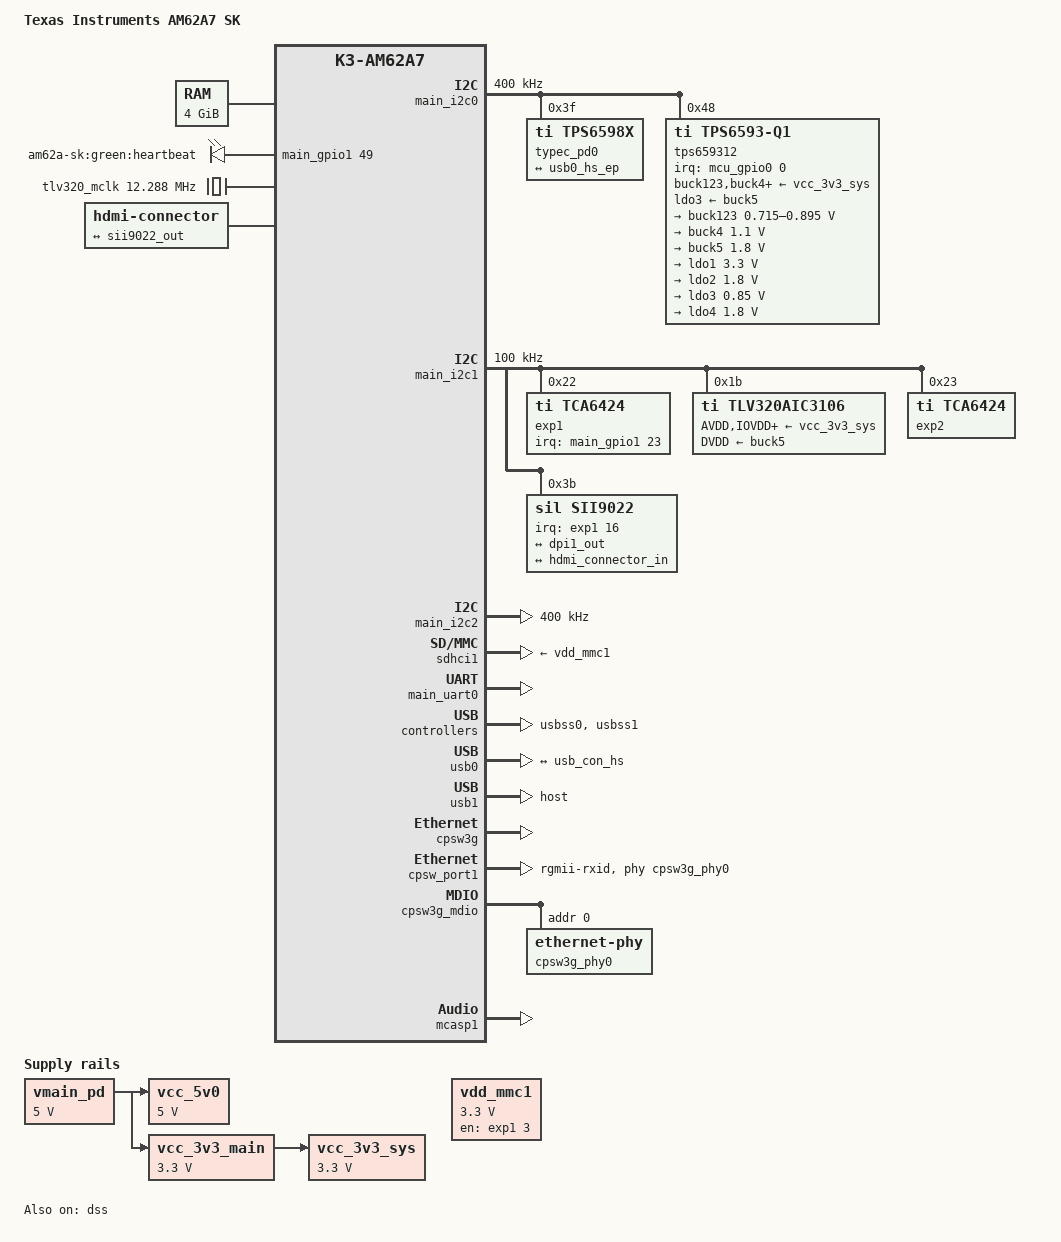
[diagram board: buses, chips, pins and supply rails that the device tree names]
// SPDX-License-Identifier: GPL-2.0
/*
 * AM62A SK: https://www.ti.com/lit/zip/sprr459
 *
 * Copyright (C) 2022 Texas Instruments Incorporated - https://www.ti.com/
 */

/dts-v1/;

#include <dt-bindings/leds/common.h>
#include <dt-bindings/gpio/gpio.h>
#include <dt-bindings/net/ti-dp83867.h>
#include "k3-am62a7.dtsi"

/ {
	compatible = "ti,am62a7-sk", "ti,am62a7";
	model = "Texas Instruments AM62A7 SK";

	aliases {
		serial0 = &wkup_uart0;
		serial2 = &main_uart0;
		serial3 = &main_uart1;
		mmc1 = &sdhci1;
	};

	chosen {
		stdout-path = "serial2:115200n8";
	};

	memory@80000000 {
		device_type = "memory";
		/* 4G RAM */
		reg = <0x00000000 0x80000000 0x00000000 0x80000000>,
		      <0x00000008 0x80000000 0x00000000 0x80000000>;
	};

	reserved-memory {
		#address-cells = <2>;
		#size-cells = <2>;
		ranges;

		secure_tfa_ddr: tfa@9e780000 {
			reg = <0x00 0x9e780000 0x00 0x80000>;
			alignment = <0x1000>;
			no-map;
		};

		secure_ddr: optee@9e800000 {
			reg = <0x00 0x9e800000 0x00 0x01800000>; /* for OP-TEE */
			alignment = <0x1000>;
			no-map;
		};

		wkup_r5fss0_core0_memory_region: r5f-dma-memory@9c900000 {
			compatible = "shared-dma-pool";
			reg = <0x00 0x9c900000 0x00 0x01e00000>;
			no-map;
		};
	};

	vmain_pd: regulator-0 {
		/* TPS25750 PD CONTROLLER OUTPUT */
		compatible = "regulator-fixed";
		regulator-name = "vmain_pd";
		regulator-min-microvolt = <5000000>;
		regulator-max-microvolt = <5000000>;
		regulator-always-on;
		regulator-boot-on;
	};

	vcc_5v0: regulator-1 {
		/* Output of TPS63070 */
		compatible = "regulator-fixed";
		regulator-name = "vcc_5v0";
		regulator-min-microvolt = <5000000>;
		regulator-max-microvolt = <5000000>;
		vin-supply = <&vmain_pd>;
		regulator-always-on;
		regulator-boot-on;
	};

	vcc_3v3_main: regulator-2 {
		/* output of LM5141-Q1 */
		compatible = "regulator-fixed";
		regulator-name = "vcc_3v3_main";
		regulator-min-microvolt = <3300000>;
		regulator-max-microvolt = <3300000>;
		vin-supply = <&vmain_pd>;
		regulator-always-on;
		regulator-boot-on;
	};

	vdd_mmc1: regulator-3 {
		/* TPS22918DBVR */
		compatible = "regulator-fixed";
		regulator-name = "vdd_mmc1";
		regulator-min-microvolt = <3300000>;
		regulator-max-microvolt = <3300000>;
		regulator-boot-on;
		enable-active-high;
		gpio = <&exp1 3 GPIO_ACTIVE_HIGH>;
	};

	vcc_3v3_sys: regulator-4 {
		/* output of TPS222965DSGT */
		compatible = "regulator-fixed";
		regulator-name = "vcc_3v3_sys";
		regulator-min-microvolt = <3300000>;
		regulator-max-microvolt = <3300000>;
		vin-supply = <&vcc_3v3_main>;
		regulator-always-on;
		regulator-boot-on;
	};

	leds {
		compatible = "gpio-leds";
		pinctrl-names = "default";
		pinctrl-0 = <&usr_led_pins_default>;

		led-0 {
			label = "am62a-sk:green:heartbeat";
			gpios = <&main_gpio1 49 GPIO_ACTIVE_HIGH>;
			linux,default-trigger = "heartbeat";
			function = LED_FUNCTION_HEARTBEAT;
			default-state = "off";
		};
	};

	tlv320_mclk: clk-0 {
		#clock-cells = <0>;
		compatible = "fixed-clock";
		clock-frequency = <12288000>;
	};

	hdmi0: connector-hdmi {
		compatible = "hdmi-connector";
		label = "hdmi";
		type = "a";

		port {
			hdmi_connector_in: endpoint {
				remote-endpoint = <&sii9022_out>;
			};
		};
	};

	codec_audio: sound {
		compatible = "simple-audio-card";
		simple-audio-card,name = "AM62Ax-SKEVM";
		simple-audio-card,widgets =
			"Headphone",	"Headphone Jack",
			"Line",		"Line In",
			"Microphone",	"Microphone Jack";
		simple-audio-card,routing =
			"Headphone Jack",	"HPLOUT",
			"Headphone Jack",	"HPROUT",
			"LINE1L",		"Line In",
			"LINE1R",		"Line In",
			"MIC3R",		"Microphone Jack",
			"Microphone Jack",	"Mic Bias";
		simple-audio-card,format = "dsp_b";
		simple-audio-card,bitclock-master = <&sound_master>;
		simple-audio-card,frame-master = <&sound_master>;
		simple-audio-card,bitclock-inversion;

		simple-audio-card,cpu {
			sound-dai = <&mcasp1>;
		};

		sound_master: simple-audio-card,codec {
			sound-dai = <&tlv320aic3106>;
			clocks = <&tlv320_mclk>;
		};
	};
};

&mcu_pmx0 {
	wkup_uart0_pins_default: wkup-uart0-default-pins {
		pinctrl-single,pins = <
			AM62AX_MCU_IOPAD(0x0024, PIN_INPUT, 0) /* (C9) WKUP_UART0_RXD */
			AM62AX_MCU_IOPAD(0x0028, PIN_OUTPUT, 0) /* (E9) WKUP_UART0_TXD */
			AM62AX_MCU_IOPAD(0x002c, PIN_INPUT, 0) /* (C10) WKUP_UART0_CTSn */
			AM62AX_MCU_IOPAD(0x0030, PIN_OUTPUT, 0) /* (C8) WKUP_UART0_RTSn */
		>;
	};
};

/* WKUP UART0 is used for DM firmware logs */
&wkup_uart0 {
	pinctrl-names = "default";
	pinctrl-0 = <&wkup_uart0_pins_default>;
	status = "reserved";
};

&main_pmx0 {
	main_dss0_pins_default: main-dss0-default-pins {
		pinctrl-single,pins = <
			AM62AX_IOPAD(0x100, PIN_OUTPUT, 0) /* (V17) VOUT0_VSYNC */
			AM62AX_IOPAD(0x0f8, PIN_OUTPUT, 0) /* (T18) VOUT0_HSYNC */
			AM62AX_IOPAD(0x104, PIN_OUTPUT, 0) /* (AA22) VOUT0_PCLK */
			AM62AX_IOPAD(0x0fc, PIN_OUTPUT, 0) /* (U17) VOUT0_DE */
			AM62AX_IOPAD(0x0b8, PIN_OUTPUT, 0) /* (U22) VOUT0_DATA0 */
			AM62AX_IOPAD(0x0bc, PIN_OUTPUT, 0) /* (U21) VOUT0_DATA1 */
			AM62AX_IOPAD(0x0c0, PIN_OUTPUT, 0) /* (U20) VOUT0_DATA2 */
			AM62AX_IOPAD(0x0c4, PIN_OUTPUT, 0) /* (U19) VOUT0_DATA3 */
			AM62AX_IOPAD(0x0c8, PIN_OUTPUT, 0) /* (T19) VOUT0_DATA4 */
			AM62AX_IOPAD(0x0cc, PIN_OUTPUT, 0) /* (U18) VOUT0_DATA5 */
			AM62AX_IOPAD(0x0d0, PIN_OUTPUT, 0) /* (V22) VOUT0_DATA6 */
			AM62AX_IOPAD(0x0d4, PIN_OUTPUT, 0) /* (V21) VOUT0_DATA7 */
			AM62AX_IOPAD(0x0d8, PIN_OUTPUT, 0) /* (V19) VOUT0_DATA8 */
			AM62AX_IOPAD(0x0dc, PIN_OUTPUT, 0) /* (V18) VOUT0_DATA9 */
			AM62AX_IOPAD(0x0e0, PIN_OUTPUT, 0) /* (W22) VOUT0_DATA10 */
			AM62AX_IOPAD(0x0e4, PIN_OUTPUT, 0) /* (W21) VOUT0_DATA11 */
			AM62AX_IOPAD(0x0e8, PIN_OUTPUT, 0) /* (W20) VOUT0_DATA12 */
			AM62AX_IOPAD(0x0ec, PIN_OUTPUT, 0) /* (W19) VOUT0_DATA13 */
			AM62AX_IOPAD(0x0f0, PIN_OUTPUT, 0) /* (Y21) VOUT0_DATA14 */
			AM62AX_IOPAD(0x0f4, PIN_OUTPUT, 0) /* (Y22) VOUT0_DATA15 */
			AM62AX_IOPAD(0x05c, PIN_OUTPUT, 1) /* (P22) GPMC0_AD8.VOUT0_DATA16 */
			AM62AX_IOPAD(0x060, PIN_OUTPUT, 1) /* (R19) GPMC0_AD9.VOUT0_DATA17 */
			AM62AX_IOPAD(0x064, PIN_OUTPUT, 1) /* (R20) GPMC0_AD10.VOUT0_DATA18 */
			AM62AX_IOPAD(0x068, PIN_OUTPUT, 1) /* (R22) GPMC0_AD11.VOUT0_DATA19 */
			AM62AX_IOPAD(0x06c, PIN_OUTPUT, 1) /* (T22) GPMC0_AD12.VOUT0_DATA20 */
			AM62AX_IOPAD(0x070, PIN_OUTPUT, 1) /* (R21) GPMC0_AD13.VOUT0_DATA21 */
			AM62AX_IOPAD(0x074, PIN_OUTPUT, 1) /* (T20) GPMC0_AD14.VOUT0_DATA22 */
			AM62AX_IOPAD(0x078, PIN_OUTPUT, 1) /* (T21) GPMC0_AD15.VOUT0_DATA23 */
		>;
	};

	main_uart0_pins_default: main-uart0-default-pins {
		pinctrl-single,pins = <
			AM62AX_IOPAD(0x1c8, PIN_INPUT, 0) /* (E14) UART0_RXD */
			AM62AX_IOPAD(0x1cc, PIN_OUTPUT, 0) /* (D15) UART0_TXD */
		>;
	};

	main_uart1_pins_default: main-uart1-default-pins {
		pinctrl-single,pins = <
			AM62AX_IOPAD(0x01e8, PIN_INPUT, 1) /* (C17) I2C1_SCL.UART1_RXD */
			AM62AX_IOPAD(0x01ec, PIN_OUTPUT, 1) /* (E17) I2C1_SDA.UART1_TXD */
			AM62AX_IOPAD(0x0194, PIN_INPUT, 2) /* (C19) MCASP0_AXR3.UART1_CTSn */
			AM62AX_IOPAD(0x0198, PIN_OUTPUT, 2) /* (B19) MCASP0_AXR2.UART1_RTSn */
		>;
	};

	main_i2c0_pins_default: main-i2c0-default-pins {
		pinctrl-single,pins = <
			AM62AX_IOPAD(0x1e0, PIN_INPUT_PULLUP, 0) /* (B16) I2C0_SCL */
			AM62AX_IOPAD(0x1e4, PIN_INPUT_PULLUP, 0) /* (A16) I2C0_SDA */
		>;
	};

	main_i2c1_pins_default: main-i2c1-default-pins {
		pinctrl-single,pins = <
			AM62AX_IOPAD(0x1e8, PIN_INPUT_PULLUP, 0) /* (B17) I2C1_SCL */
			AM62AX_IOPAD(0x1ec, PIN_INPUT_PULLUP, 0) /* (A17) I2C1_SDA */
		>;
	};

	main_i2c2_pins_default: main-i2c2-default-pins {
		pinctrl-single,pins = <
			AM62AX_IOPAD(0x0b0, PIN_INPUT_PULLUP, 1) /* (K22) GPMC0_CSn2.I2C2_SCL */
			AM62AX_IOPAD(0x0b4, PIN_INPUT_PULLUP, 1) /* (K24) GPMC0_CSn3.I2C2_SDA */
		>;
	};

	main_mmc1_pins_default: main-mmc1-default-pins {
		pinctrl-single,pins = <
			AM62AX_IOPAD(0x23c, PIN_INPUT, 0) /* (A21) MMC1_CMD */
			AM62AX_IOPAD(0x234, PIN_INPUT, 0) /* (B22) MMC1_CLK */
			AM62AX_IOPAD(0x230, PIN_INPUT, 0) /* (A22) MMC1_DAT0 */
			AM62AX_IOPAD(0x22c, PIN_INPUT, 0) /* (B21) MMC1_DAT1 */
			AM62AX_IOPAD(0x228, PIN_INPUT, 0) /* (C21) MMC1_DAT2 */
			AM62AX_IOPAD(0x224, PIN_INPUT, 0) /* (D22) MMC1_DAT3 */
			AM62AX_IOPAD(0x240, PIN_INPUT, 0) /* (D17) MMC1_SDCD */
		>;
	};

	usr_led_pins_default: usr-led-default-pins {
		pinctrl-single,pins = <
			AM62AX_IOPAD(0x244, PIN_OUTPUT, 7) /* (D18) MMC1_SDWP.GPIO1_49 */
		>;
	};

	main_usb1_pins_default: main-usb1-default-pins {
		pinctrl-single,pins = <
			AM62AX_IOPAD(0x0258, PIN_OUTPUT, 0) /* (F18) USB1_DRVVBUS */
		>;
	};

	main_mdio1_pins_default: main-mdio1-default-pins {
		pinctrl-single,pins = <
			AM62AX_IOPAD(0x160, PIN_OUTPUT, 0) /* (V12) MDIO0_MDC */
			AM62AX_IOPAD(0x15c, PIN_INPUT, 0) /* (V13) MDIO0_MDIO */
		>;
	};

	main_rgmii1_pins_default: main-rgmii1-default-pins {
		pinctrl-single,pins = <
			AM62AX_IOPAD(0x14c, PIN_INPUT, 0) /* (AB16) RGMII1_RD0 */
			AM62AX_IOPAD(0x150, PIN_INPUT, 0) /* (V15) RGMII1_RD1 */
			AM62AX_IOPAD(0x154, PIN_INPUT, 0) /* (W15) RGMII1_RD2 */
			AM62AX_IOPAD(0x158, PIN_INPUT, 0) /* (V14) RGMII1_RD3 */
			AM62AX_IOPAD(0x148, PIN_INPUT, 0) /* (AA16) RGMII1_RXC */
			AM62AX_IOPAD(0x144, PIN_INPUT, 0) /* (AA15) RGMII1_RX_CTL */
			AM62AX_IOPAD(0x134, PIN_INPUT, 0) /* (Y17) RGMII1_TD0 */
			AM62AX_IOPAD(0x138, PIN_INPUT, 0) /* (V16) RGMII1_TD1 */
			AM62AX_IOPAD(0x13c, PIN_INPUT, 0) /* (Y16) RGMII1_TD2 */
			AM62AX_IOPAD(0x140, PIN_INPUT, 0) /* (AA17) RGMII1_TD3 */
			AM62AX_IOPAD(0x130, PIN_INPUT, 0) /* (AB17) RGMII1_TXC */
			AM62AX_IOPAD(0x12c, PIN_INPUT, 0) /* (W16) RGMII1_TX_CTL */
		>;
	};

	main_mcasp1_pins_default: main-mcasp1-default-pins {
		pinctrl-single,pins = <
			AM62AX_IOPAD(0x090, PIN_INPUT, 2) /* (L19) GPMC0_BE0n_CLE.MCASP1_ACLKX */
			AM62AX_IOPAD(0x098, PIN_INPUT, 2) /* (R18) GPMC0_WAIT0.MCASP1_AFSX */
			AM62AX_IOPAD(0x08c, PIN_OUTPUT, 2) /* (K19) GPMC0_WEn.MCASP1_AXR0 */
			AM62AX_IOPAD(0x084, PIN_INPUT, 2) /* (L18) GPMC0_ADVn_ALE.MCASP1_AXR2 */
		>;
	};

	main_gpio1_ioexp_intr_pins_default: main-gpio1-ioexp-intr-default-pins {
		pinctrl-single,pins = <
			AM62AX_IOPAD(0x01d4, PIN_INPUT, 7) /* (C15) UART0_RTSn.GPIO1_23 */
		>;
	};
};

&mcu_pmx0 {
	status = "okay";

	pmic_irq_pins_default: pmic-irq-default-pins {
		pinctrl-single,pins = <
			AM62AX_MCU_IOPAD(0x000, PIN_INPUT, 7) /* (E11) MCU_GPIO0_0 */
		>;
	};
};

&mcu_gpio0 {
	status = "okay";
};

&main_i2c0 {
	status = "okay";
	pinctrl-names = "default";
	pinctrl-0 = <&main_i2c0_pins_default>;
	clock-frequency = <400000>;

	typec_pd0: usb-power-controller@3f {
		compatible = "ti,tps6598x";
		reg = <0x3f>;

		connector {
			compatible = "usb-c-connector";
			label = "USB-C";
			self-powered;
			data-role = "dual";
			power-role = "sink";
			port {
				usb_con_hs: endpoint {
					remote-endpoint = <&usb0_hs_ep>;
				};
			};
		};
	};

	tps659312: pmic@48 {
		compatible = "ti,tps6593-q1";
		reg = <0x48>;
		ti,primary-pmic;
		system-power-controller;

		gpio-controller;
		#gpio-cells = <2>;

		pinctrl-names = "default";
		pinctrl-0 = <&pmic_irq_pins_default>;
		interrupt-parent = <&mcu_gpio0>;
		interrupts = <0 IRQ_TYPE_EDGE_FALLING>;

		buck123-supply = <&vcc_3v3_sys>;
		buck4-supply = <&vcc_3v3_sys>;
		buck5-supply = <&vcc_3v3_sys>;
		ldo1-supply = <&vcc_3v3_sys>;
		ldo2-supply = <&vcc_3v3_sys>;
		ldo3-supply = <&buck5>;
		ldo4-supply = <&vcc_3v3_sys>;

		regulators {
			buck123: buck123 {
				regulator-name = "vcc_core";
				regulator-min-microvolt = <715000>;
				regulator-max-microvolt = <895000>;
				regulator-boot-on;
				regulator-always-on;
			};

			buck4: buck4 {
				regulator-name = "vcc_1v1";
				regulator-min-microvolt = <1100000>;
				regulator-max-microvolt = <1100000>;
				regulator-boot-on;
				regulator-always-on;
			};

			buck5: buck5 {
				regulator-name = "vcc_1v8_sys";
				regulator-min-microvolt = <1800000>;
				regulator-max-microvolt = <1800000>;
				regulator-boot-on;
				regulator-always-on;
			};

			ldo1: ldo1 {
				regulator-name = "vddshv5_sdio";
				regulator-min-microvolt = <3300000>;
				regulator-max-microvolt = <3300000>;
				regulator-boot-on;
				regulator-always-on;
			};

			ldo2: ldo2 {
				regulator-name = "vpp_1v8";
				regulator-min-microvolt = <1800000>;
				regulator-max-microvolt = <1800000>;
				regulator-boot-on;
				regulator-always-on;
			};

			ldo3: ldo3 {
				regulator-name = "vcc_0v85";
				regulator-min-microvolt = <850000>;
				regulator-max-microvolt = <850000>;
				regulator-boot-on;
				regulator-always-on;
			};

			ldo4: ldo4 {
				regulator-name = "vdda_1v8";
				regulator-min-microvolt = <1800000>;
				regulator-max-microvolt = <1800000>;
				regulator-boot-on;
				regulator-always-on;
			};
		};
	};
};

&main_i2c1 {
	status = "okay";
	pinctrl-names = "default";
	pinctrl-0 = <&main_i2c1_pins_default>;
	clock-frequency = <100000>;

	exp1: gpio@22 {
		compatible = "ti,tca6424";
		reg = <0x22>;
		gpio-controller;
		#gpio-cells = <2>;
		interrupt-parent = <&main_gpio1>;
		interrupts = <23 IRQ_TYPE_EDGE_FALLING>;
		interrupt-controller;
		#interrupt-cells = <2>;
		pinctrl-names = "default";
		pinctrl-0 = <&main_gpio1_ioexp_intr_pins_default>;

		gpio-line-names = "GPIO_CPSW2_RST", "GPIO_CPSW1_RST",
				   "BT_EN_SOC", "MMC1_SD_EN",
				   "VPP_EN", "EXP_PS_3V3_En",
				   "EXP_PS_5V0_En", "EXP_HAT_DETECT",
				   "GPIO_AUD_RSTn", "GPIO_eMMC_RSTn",
				   "UART1_FET_BUF_EN", "BT_UART_WAKE_SOC",
				   "GPIO_HDMI_RSTn", "CSI_GPIO0",
				   "CSI_GPIO1", "WLAN_ALERTn",
				   "HDMI_INTn", "TEST_GPIO2",
				   "MCASP1_FET_EN", "MCASP1_BUF_BT_EN",
				   "MCASP1_FET_SEL", "UART1_FET_SEL",
				   "PD_I2C_IRQ", "IO_EXP_TEST_LED";
	};

	tlv320aic3106: audio-codec@1b {
		#sound-dai-cells = <0>;
		compatible = "ti,tlv320aic3106";
		reg = <0x1b>;
		ai3x-micbias-vg = <1>;	/* 2.0V */

		/* Regulators */
		AVDD-supply = <&vcc_3v3_sys>;
		IOVDD-supply = <&vcc_3v3_sys>;
		DRVDD-supply = <&vcc_3v3_sys>;
		DVDD-supply = <&buck5>;
	};

	exp2: gpio@23 {
		compatible = "ti,tca6424";
		reg = <0x23>;
		gpio-controller;
		#gpio-cells = <2>;

		gpio-line-names = "", "",
				  "", "",
				  "", "",
				  "", "",
				  "WL_LT_EN", "CSI_RSTz",
				  "", "",
				  "", "",
				  "", "",
				  "SPI0_FET_SEL", "SPI0_FET_OE",
				  "RGMII2_BRD_CONN_DET", "CSI_SEL2",
				  "CSI_EN", "AUTO_100M_1000M_CONFIG",
				  "CSI_VLDO_SEL", "SoC_WLAN_SDIO_RST";
	};

	sii9022: bridge-hdmi@3b {
		compatible = "sil,sii9022";
		reg = <0x3b>;
		interrupt-parent = <&exp1>;
		interrupts = <16 IRQ_TYPE_EDGE_FALLING>;
		#sound-dai-cells = <0>;
		sil,i2s-data-lanes = < 0 >;

		ports {
			#address-cells = <1>;
			#size-cells = <0>;

			port@0 {
				reg = <0>;

				sii9022_in: endpoint {
					remote-endpoint = <&dpi1_out>;
				};
			};

			port@1 {
				reg = <1>;

				sii9022_out: endpoint {
					remote-endpoint = <&hdmi_connector_in>;
				};
			};
		};
	};
};

&main_i2c2 {
	status = "okay";
	pinctrl-names = "default";
	pinctrl-0 = <&main_i2c2_pins_default>;
	clock-frequency = <400000>;
};

&sdhci1 {
	/* SD/MMC */
	status = "okay";
	vmmc-supply = <&vdd_mmc1>;
	pinctrl-names = "default";
	pinctrl-0 = <&main_mmc1_pins_default>;
	ti,driver-strength-ohm = <50>;
	disable-wp;
};

&main_gpio0 {
	status = "okay";
};

&main_gpio1 {
	status = "okay";
};

&main_gpio_intr {
	status = "okay";
};

&main_uart0 {
	status = "okay";
	pinctrl-names = "default";
	pinctrl-0 = <&main_uart0_pins_default>;
};

/* Main UART1 is used for TIFS firmware logs */
&main_uart1 {
	pinctrl-names = "default";
	pinctrl-0 = <&main_uart1_pins_default>;
	status = "reserved";
};

&usbss0 {
	status = "okay";
	ti,vbus-divider;
};

&usb0 {
	usb-role-switch;

	port {
		usb0_hs_ep: endpoint {
			remote-endpoint = <&usb_con_hs>;
		};
	};
};

&usbss1 {
	status = "okay";
};

&usb1 {
	dr_mode = "host";
	pinctrl-names = "default";
	pinctrl-0 = <&main_usb1_pins_default>;
};

&cpsw3g {
	status = "okay";
	pinctrl-names = "default";
	pinctrl-0 = <&main_rgmii1_pins_default>;
};

&cpsw_port1 {
	status = "okay";
	phy-mode = "rgmii-rxid";
	phy-handle = <&cpsw3g_phy0>;
};

&cpsw_port2 {
	status = "disabled";
};

&cpsw3g_mdio {
	status = "okay";
	pinctrl-names = "default";
	pinctrl-0 = <&main_mdio1_pins_default>;

	cpsw3g_phy0: ethernet-phy@0 {
		reg = <0>;
		ti,rx-internal-delay = <DP83867_RGMIIDCTL_2_00_NS>;
		ti,fifo-depth = <DP83867_PHYCR_FIFO_DEPTH_4_B_NIB>;
		ti,min-output-impedance;
	};
};

&mcasp1 {
	status = "okay";
	#sound-dai-cells = <0>;

	pinctrl-names = "default";
	pinctrl-0 = <&main_mcasp1_pins_default>;

	op-mode = <0>;          /* MCASP_IIS_MODE */
	tdm-slots = <2>;

	serial-dir = <  /* 0: INACTIVE, 1: TX, 2: RX */
	       1 0 2 0
	       0 0 0 0
	       0 0 0 0
	       0 0 0 0
	>;
	tx-num-evt = <32>;
	rx-num-evt = <32>;
};

&dss {
	status = "okay";
	pinctrl-names = "default";
	pinctrl-0 = <&main_dss0_pins_default>;
};

&dss_ports {
	/* VP2: DPI Output */
	port@1 {
		reg = <1>;

		dpi1_out: endpoint {
			remote-endpoint = <&sii9022_in>;
		};
	};
};
